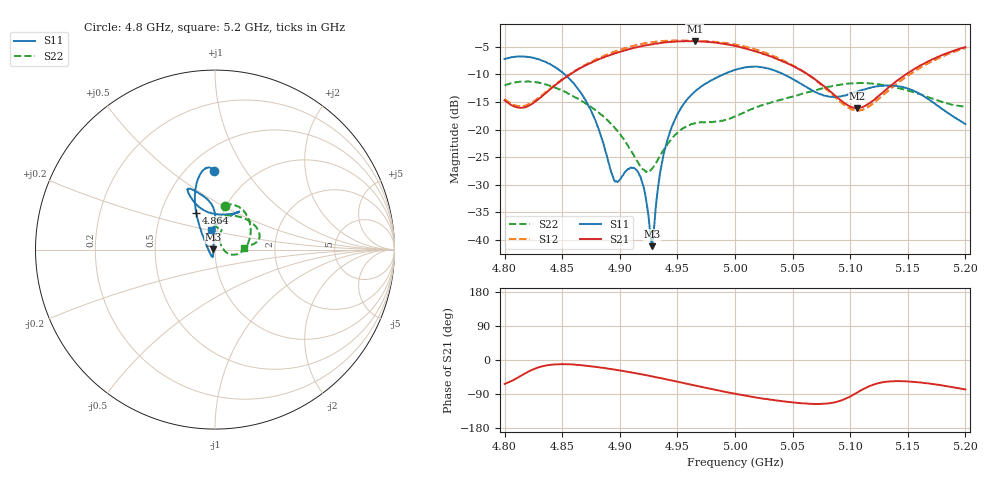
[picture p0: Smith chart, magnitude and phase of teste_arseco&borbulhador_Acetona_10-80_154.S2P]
! Network Analyzer HP8722D
! Hewlett-Packard
! Data name: Linha & Wilkinson
! Saver's name: Rodrigo Anjos
! Comments: Teste da utilização de aquisição
! continua pelo VNA HP8722D
! Time and date: 25/4/2025 16:33
!  Frequency  S11  S21  S12  S22
# HZ  S  MA R 50
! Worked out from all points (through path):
!   401 points, 4.8 GHz to 5.2 GHz, reference 50 ohm
!   highest |S21| = -3.97 dB at 4.965 GHz (marker M1); lowest = -16.1 dB at 5.106 GHz (marker M2)
!   lowest |S11| = -41.1 dB at 4.928 GHz (marker M3), VSWR 1.02, Z = 49.1 + j0.0797 ohm
!   |S11| at or under -10 dB: 4.852 GHz to 4.99 GHz (138.1 MHz wide, 2.81 % of centre); 5.042 GHz to end of sweep
!   |S22| runs from -27.7 to -11.3 dB; largest |S21 - S12| = 1.2
!   S11 on the Smith chart (normalised r, x): 4.8 GHz: 0.67, +0.73; 4.864 GHz: 0.75, +0.33; 5.2 GHz: 0.94, +0.21
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4.8e9  0.4355 90.7  0.1838 -63.1  0.189 70.3  0.25 76.9
4.82e9  0.4534 97.0  0.1624 -31.6  0.1682 99.1  0.2735 61.3
4.844e9  0.3653 106.9  0.253 -11.6  0.2555 119.2  0.2392 35.3
4.864e9  0.2318 116.9  0.3515 -12.9  0.3551 120.8  0.1891 11.6
4.867e9  0.209 118.7  0.3655 -14.1  0.3705 120.6  0.1814 8.3
4.88e9  0.1122 129.3  0.4246 -18.6  0.4349 118.1  0.1466 -5.6
4.896e9  0.03376 -166.2  0.4906 -25.5  0.5089 112.8  0.1027 -15.8
4.91e9  0.04525 -109.0  0.5396 -32.8  0.5652 107.0  0.06371 -13.3
4.917e9  0.03882 -106.4  0.5631 -36.7  0.5901 103.2  0.04783 0.0
4.921e9  0.0292 -111.0  0.5749 -39.1  0.6011 101.0  0.04332 13.7
4.928e9  0.008807 174.7  0.5909 -43.3  0.6166 96.7  0.04408 42.1
4.934e9  0.03429 102.2  0.6033 -47.0  0.628 93.0  0.05569 58.4
4.939e9  0.0654 94.0  0.6148 -50.1  0.635 89.8  0.06778 65.8
4.946e9  0.1113 90.4  0.6232 -54.6  0.6393 85.3  0.08499 69.9
4.965e9  0.2198 91.2  0.6333 -67.1  0.6371 73.2  0.1139 71.5
5e9  0.3466 109.1  0.5718 -89.3  0.5906 50.6  0.1311 88.3
5.029e9  0.3562 115.0  0.4659 -103.8  0.4836 34.1  0.1728 85.5
5.067e9  0.2266 105.4  0.2981 -115.7  0.2954 23.7  0.222 56.6
5.106e9  0.2198 64.8  0.1562 -86.0  0.1485 57.0  0.2625 24.5
5.134e9  0.2511 57.4  0.2439 -56.6  0.2292 88.8  0.2471 12.2
5.169e9  0.1852 70.4  0.4203 -62.3  0.404 84.6  0.1943 6.8
5.2e9  0.1121 101.1  0.557 -77.7  0.5468 69.9  0.1616 3.5
